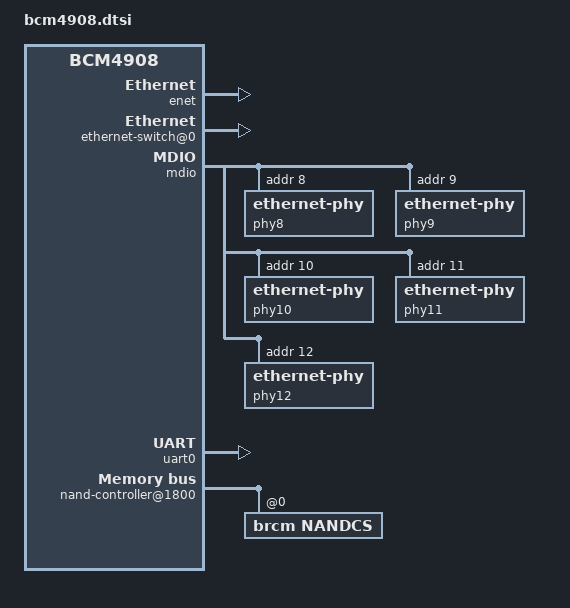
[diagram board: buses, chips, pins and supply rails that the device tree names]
// SPDX-License-Identifier: GPL-2.0-or-later OR MIT

#include <dt-bindings/interrupt-controller/irq.h>
#include <dt-bindings/interrupt-controller/arm-gic.h>
#include <dt-bindings/phy/phy.h>
#include <dt-bindings/soc/bcm-pmb.h>

/dts-v1/;

/ {
	interrupt-parent = <&gic>;

	#address-cells = <2>;
	#size-cells = <2>;

	aliases {
		serial0 = &uart0;
	};

	chosen {
		stdout-path = "serial0:115200n8";
	};

	cpus {
		#address-cells = <1>;
		#size-cells = <0>;

		cpu0: cpu@0 {
			device_type = "cpu";
			compatible = "brcm,brahma-b53";
			reg = <0x0>;
			enable-method = "spin-table";
			cpu-release-addr = <0x0 0xfff8>;
			next-level-cache = <&l2>;
		};

		cpu1: cpu@1 {
			device_type = "cpu";
			compatible = "brcm,brahma-b53";
			reg = <0x1>;
			enable-method = "spin-table";
			cpu-release-addr = <0x0 0xfff8>;
			next-level-cache = <&l2>;
		};

		cpu2: cpu@2 {
			device_type = "cpu";
			compatible = "brcm,brahma-b53";
			reg = <0x2>;
			enable-method = "spin-table";
			cpu-release-addr = <0x0 0xfff8>;
			next-level-cache = <&l2>;
		};

		cpu3: cpu@3 {
			device_type = "cpu";
			compatible = "brcm,brahma-b53";
			reg = <0x3>;
			enable-method = "spin-table";
			cpu-release-addr = <0x0 0xfff8>;
			next-level-cache = <&l2>;
		};

		l2: l2-cache0 {
			compatible = "cache";
			cache-level = <2>;
			cache-unified;
		};
	};

	axi@81000000 {
		compatible = "simple-bus";
		#address-cells = <1>;
		#size-cells = <1>;
		ranges = <0x00 0x00 0x81000000 0x4000>;

		gic: interrupt-controller@1000 {
			compatible = "arm,gic-400";
			#interrupt-cells = <3>;
			#address-cells = <0>;
			interrupt-controller;
			reg = <0x1000 0x1000>,
			      <0x2000 0x2000>;
		};
	};

	timer {
		compatible = "arm,armv8-timer";
		interrupts = <GIC_PPI 13 (GIC_CPU_MASK_SIMPLE(4) | IRQ_TYPE_LEVEL_LOW)>,
			     <GIC_PPI 14 (GIC_CPU_MASK_SIMPLE(4) | IRQ_TYPE_LEVEL_LOW)>,
			     <GIC_PPI 11 (GIC_CPU_MASK_SIMPLE(4) | IRQ_TYPE_LEVEL_LOW)>,
			     <GIC_PPI 10 (GIC_CPU_MASK_SIMPLE(4) | IRQ_TYPE_LEVEL_LOW)>;
	};

	pmu {
		compatible = "arm,cortex-a53-pmu";
		interrupts = <GIC_SPI 9 IRQ_TYPE_LEVEL_HIGH>,
			     <GIC_SPI 10 IRQ_TYPE_LEVEL_HIGH>,
			     <GIC_SPI 11 IRQ_TYPE_LEVEL_HIGH>,
			     <GIC_SPI 12 IRQ_TYPE_LEVEL_HIGH>;
		interrupt-affinity = <&cpu0>, <&cpu1>, <&cpu2>, <&cpu3>;
	};

	clocks {
		periph_clk: periph_clk {
			compatible = "fixed-clock";
			#clock-cells = <0>;
			clock-frequency = <50000000>;
			clock-output-names = "periph";
		};

		hsspi_pll: hsspi-pll {
			compatible = "fixed-clock";
			#clock-cells = <0>;
			clock-frequency = <400000000>;
		};
	};

	soc {
		compatible = "simple-bus";
		#address-cells = <1>;
		#size-cells = <1>;
		ranges = <0x00 0x00 0x80000000 0x281000>;

		enet: ethernet@2000 {
			compatible = "brcm,bcm4908-enet";
			reg = <0x2000 0x1000>;

			interrupts = <GIC_SPI 86 IRQ_TYPE_LEVEL_HIGH>,
				     <GIC_SPI 87 IRQ_TYPE_LEVEL_HIGH>;
			interrupt-names = "rx", "tx";
		};

		usb_phy: usb-phy@c200 {
			compatible = "brcm,bcm4908-usb-phy";
			reg = <0xc200 0x100>;
			reg-names = "ctrl";
			power-domains = <&pmb BCM_PMB_HOST_USB>;
			dr_mode = "host";
			brcm,has-xhci;
			brcm,has-eohci;
			#phy-cells = <1>;
			status = "disabled";
		};

		ehci: usb@c300 {
			compatible = "generic-ehci";
			reg = <0xc300 0x100>;
			interrupts = <GIC_SPI 73 IRQ_TYPE_LEVEL_HIGH>;
			phys = <&usb_phy PHY_TYPE_USB2>;
			status = "disabled";

			#address-cells = <1>;
			#size-cells = <0>;

			ehci_port1: port@1 {
				reg = <1>;
				#trigger-source-cells = <0>;
			};

			ehci_port2: port@2 {
				reg = <2>;
				#trigger-source-cells = <0>;
			};
		};

		ohci: usb@c400 {
			compatible = "generic-ohci";
			reg = <0xc400 0x100>;
			interrupts = <GIC_SPI 72 IRQ_TYPE_LEVEL_HIGH>;
			phys = <&usb_phy PHY_TYPE_USB2>;
			status = "disabled";

			#address-cells = <1>;
			#size-cells = <0>;

			ohci_port1: port@1 {
				reg = <1>;
				#trigger-source-cells = <0>;
			};

			ohci_port2: port@2 {
				reg = <2>;
				#trigger-source-cells = <0>;
			};
		};

		xhci: usb@d000 {
			compatible = "generic-xhci";
			reg = <0xd000 0x8c8>;
			interrupts = <GIC_SPI 74 IRQ_TYPE_LEVEL_HIGH>;
			phys = <&usb_phy PHY_TYPE_USB3>;
			status = "disabled";

			#address-cells = <1>;
			#size-cells = <0>;

			xhci_port1: port@1 {
				reg = <1>;
				#trigger-source-cells = <0>;
			};

			xhci_port2: port@2 {
				reg = <2>;
				#trigger-source-cells = <0>;
			};
		};

		bus@80000 {
			compatible = "simple-bus";
			#size-cells = <1>;
			#address-cells = <1>;
			ranges = <0 0x80000 0x50000>;

			ethernet-switch@0 {
				compatible = "brcm,bcm4908-switch";
				reg = <0x0 0x40000>,
				      <0x40000 0x110>,
				      <0x40340 0x30>,
				      <0x40380 0x30>,
				      <0x40600 0x34>,
				      <0x40800 0x208>;
				reg-names = "core", "reg", "intrl2_0",
					    "intrl2_1", "fcb", "acb";
				interrupts = <GIC_SPI 57 IRQ_TYPE_LEVEL_HIGH>,
					     <GIC_SPI 58 IRQ_TYPE_LEVEL_HIGH>;
				brcm,num-gphy = <5>;
				brcm,num-rgmii-ports = <2>;

				#address-cells = <1>;
				#size-cells = <0>;

				ports: ports {
					#address-cells = <1>;
					#size-cells = <0>;

					port@0 {
						reg = <0>;
						phy-mode = "internal";
						phy-handle = <&phy8>;
					};

					port@1 {
						reg = <1>;
						phy-mode = "internal";
						phy-handle = <&phy9>;
					};

					port@2 {
						reg = <2>;
						phy-mode = "internal";
						phy-handle = <&phy10>;
					};

					port@3 {
						reg = <3>;
						phy-mode = "internal";
						phy-handle = <&phy11>;
					};

					port@8 {
						reg = <8>;
						phy-mode = "internal";
						ethernet = <&enet>;

						fixed-link {
							speed = <1000>;
							full-duplex;
						};
					};
				};
			};

			mdio: mdio@405c0 {
				compatible = "brcm,unimac-mdio";
				reg = <0x405c0 0x8>;
				reg-names = "mdio";
				#size-cells = <0>;
				#address-cells = <1>;

				phy8: ethernet-phy@8 {
					reg = <8>;
				};

				phy9: ethernet-phy@9 {
					reg = <9>;
				};

				phy10: ethernet-phy@a {
					reg = <10>;
				};

				phy11: ethernet-phy@b {
					reg = <11>;
				};

				phy12: ethernet-phy@c {
					reg = <12>;
				};
			};
		};

		procmon: bus@280000 {
			compatible = "simple-bus";
			reg = <0x280000 0x1000>;
			ranges;

			#address-cells = <1>;
			#size-cells = <1>;

			pmb: power-controller@2800c0 {
				compatible = "brcm,bcm4908-pmb";
				reg = <0x2800c0 0x40>;
				#power-domain-cells = <1>;
			};
		};
	};

	bus@ff800000 {
		compatible = "simple-bus";
		#address-cells = <1>;
		#size-cells = <1>;
		ranges = <0x00 0x00 0xff800000 0x3000>;

		twd: timer-mfd@400 {
			compatible = "brcm,bcm4908-twd", "simple-mfd", "syscon";
			reg = <0x400 0x4c>;
			ranges = <0x0 0x400 0x4c>;

			#address-cells = <1>;
			#size-cells = <1>;

			timer@0 {
				compatible = "brcm,bcm63138-timer";
				reg = <0x0 0x28>;
			};

			watchdog@28 {
				compatible = "brcm,bcm6345-wdt";
				reg = <0x28 0x8>;
			};
		};

		gpio0: gpio-controller@500 {
			compatible = "brcm,bcm6345-gpio";
			reg-names = "dirout", "dat";
			reg = <0x500 0x28>, <0x528 0x28>;

			#gpio-cells = <2>;
			gpio-controller;
		};

		pinctrl@560 {
			compatible = "brcm,bcm4908-pinctrl";
			reg = <0x560 0x10>;

			pins_led_0_a: led_0-a-pins {
				function = "led_0";
				groups = "led_0_grp_a";
			};

			pins_led_1_a: led_1-a-pins {
				function = "led_1";
				groups = "led_1_grp_a";
			};

			pins_led_2_a: led_2-a-pins {
				function = "led_2";
				groups = "led_2_grp_a";
			};

			pins_led_3_a: led_3-a-pins {
				function = "led_3";
				groups = "led_3_grp_a";
			};

			pins_led_4_a: led_4-a-pins {
				function = "led_4";
				groups = "led_4_grp_a";
			};

			pins_led_5_a: led_5-a-pins {
				function = "led_5";
				groups = "led_5_grp_a";
			};

			pins_led_6_a: led_6-a-pins {
				function = "led_6";
				groups = "led_6_grp_a";
			};

			pins_led_7_a: led_7-a-pins {
				function = "led_7";
				groups = "led_7_grp_a";
			};

			pins_led_8_a: led_8-a-pins {
				function = "led_8";
				groups = "led_8_grp_a";
			};

			pins_led_9_a: led_9-a-pins {
				function = "led_9";
				groups = "led_9_grp_a";
			};

			pins_led_10_a: led_10-a-pins {
				function = "led_10";
				groups = "led_10_grp_a";
			};

			pins_led_11_a: led_11-a-pins {
				function = "led_11";
				groups = "led_11_grp_a";
			};

			pins_led_12_a: led_12-a-pins {
				function = "led_12";
				groups = "led_12_grp_a";
			};

			pins_led_13_a: led_13-a-pins {
				function = "led_13";
				groups = "led_13_grp_a";
			};

			pins_led_14_a: led_14-a-pins {
				function = "led_14";
				groups = "led_14_grp_a";
			};

			pins_led_15_a: led_15-a-pins {
				function = "led_15";
				groups = "led_15_grp_a";
			};

			pins_led_16_a: led_16-a-pins {
				function = "led_16";
				groups = "led_16_grp_a";
			};

			pins_led_17_a: led_17-a-pins {
				function = "led_17";
				groups = "led_17_grp_a";
			};

			pins_led_18_a: led_18-a-pins {
				function = "led_18";
				groups = "led_18_grp_a";
			};

			pins_led_19_a: led_19-a-pins {
				function = "led_19";
				groups = "led_19_grp_a";
			};

			pins_led_20_a: led_20-a-pins {
				function = "led_20";
				groups = "led_20_grp_a";
			};

			pins_led_21_a: led_21-a-pins {
				function = "led_21";
				groups = "led_21_grp_a";
			};

			pins_led_22_a: led_22-a-pins {
				function = "led_22";
				groups = "led_22_grp_a";
			};

			pins_led_23_a: led_23-a-pins {
				function = "led_23";
				groups = "led_23_grp_a";
			};

			pins_led_24_a: led_24-a-pins {
				function = "led_24";
				groups = "led_24_grp_a";
			};

			pins_led_25_a: led_25-a-pins {
				function = "led_25";
				groups = "led_25_grp_a";
			};

			pins_led_26_a: led_26-a-pins {
				function = "led_26";
				groups = "led_26_grp_a";
			};

			pins_led_27_a: led_27-a-pins {
				function = "led_27";
				groups = "led_27_grp_a";
			};

			pins_led_28_a: led_28-a-pins {
				function = "led_28";
				groups = "led_28_grp_a";
			};

			pins_led_29_a: led_29-a-pins {
				function = "led_29";
				groups = "led_29_grp_a";
			};

			pins_led_30_a: led_30-a-pins {
				function = "led_30";
				groups = "led_30_grp_a";
			};

			pins_led_31_a: led_31-a-pins {
				function = "led_31";
				groups = "led_31_grp_a";
			};

			pins_hs_uart: hs_uart-pins {
				function = "hs_uart";
				groups = "hs_uart_grp";
			};

			pins_i2c_a: i2c-a-pins {
				function = "i2c";
				groups = "i2c_grp_a";
			};

			pins_i2c_b: i2c-b-pins {
				function = "i2c";
				groups = "i2c_grp_b";
			};

			pins_i2s: i2s-pins {
				function = "i2s";
				groups = "i2s_grp";
			};

			pins_nand_ctrl: nand_ctrl-pins {
				function = "nand_ctrl";
				groups = "nand_ctrl_grp";
			};

			pins_nand_data: nand_data-pins {
				function = "nand_data";
				groups = "nand_data_grp";
			};

			pins_emmc_ctrl: emmc_ctrl-pins {
				function = "emmc_ctrl";
				groups = "emmc_ctrl_grp";
			};

			pins_usb0_pwr: usb0_pwr-pins {
				function = "usb0_pwr";
				groups = "usb0_pwr_grp";
			};

			pins_usb1_pwr: usb1_pwr-pins {
				function = "usb1_pwr";
				groups = "usb1_pwr_grp";
			};
		};

		uart0: serial@640 {
			compatible = "brcm,bcm6345-uart";
			reg = <0x640 0x18>;
			interrupts = <GIC_SPI 32 IRQ_TYPE_LEVEL_HIGH>;
			clocks = <&periph_clk>;
			clock-names = "refclk";
			status = "okay";
		};

		leds: leds@800 {
			compatible = "brcm,bcm4908-leds", "brcm,bcm63138-leds";
			reg = <0x800 0xdc>;

			#address-cells = <1>;
			#size-cells = <0>;
		};

		hsspi: spi@1000 {
			#address-cells = <1>;
			#size-cells = <0>;
			compatible = "brcm,bcm4908-hsspi", "brcm,bcmbca-hsspi-v1.0";
			reg = <0x1000 0x600>;
			interrupts = <GIC_SPI 36 IRQ_TYPE_LEVEL_HIGH>;
			clocks = <&hsspi_pll &hsspi_pll>;
			clock-names = "hsspi", "pll";
			num-cs = <8>;
			status = "disabled";
		};

		nand-controller@1800 {
			#address-cells = <1>;
			#size-cells = <0>;
			compatible = "brcm,nand-bcm63138", "brcm,brcmnand-v7.1", "brcm,brcmnand";
			reg = <0x1800 0x600>, <0x2000 0x10>;
			reg-names = "nand", "nand-int-base";
			interrupts = <GIC_SPI 37 IRQ_TYPE_LEVEL_HIGH>;
			interrupt-names = "nand_ctlrdy";
			status = "okay";

			nandcs: nand@0 {
				compatible = "brcm,nandcs";
				reg = <0>;
			};
		};

		i2c@2100 {
			compatible = "brcm,brcmper-i2c";
			reg = <0x2100 0x58>;
			clock-frequency = <97500>;
			pinctrl-names = "default";
			pinctrl-0 = <&pins_i2c_a>;
			status = "disabled";
		};

		misc@2600 {
			compatible = "brcm,misc", "simple-mfd";
			reg = <0x2600 0xe4>;

			#address-cells = <1>;
			#size-cells = <1>;
			ranges = <0x00 0x2600 0xe4>;

			reset-controller@2644 {
				compatible = "brcm,bcm4908-misc-pcie-reset";
				reg = <0x44 0x04>;
				#reset-cells = <1>;
			};
		};
	};

	reboot {
		compatible = "syscon-reboot";
		regmap = <&twd>;
		offset = <0x34>;
		mask = <1>;
	};
};
